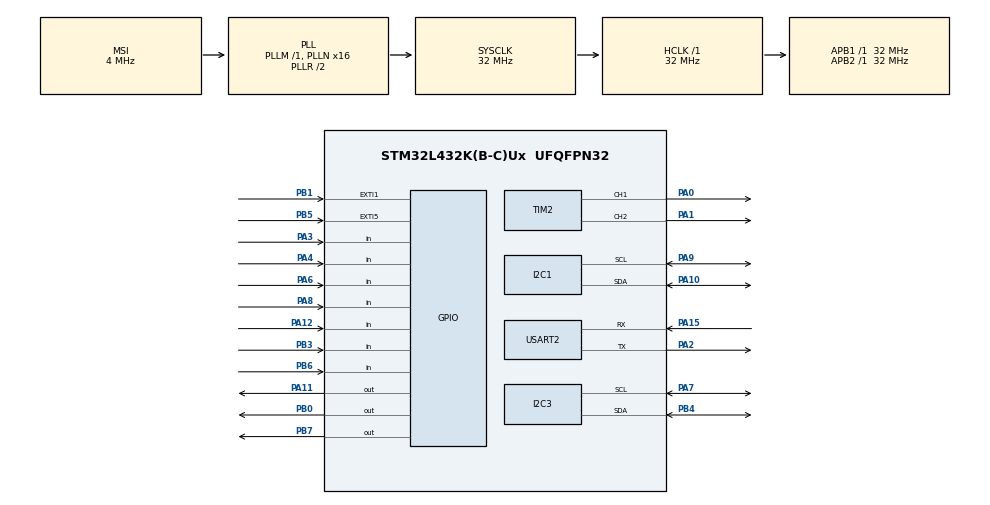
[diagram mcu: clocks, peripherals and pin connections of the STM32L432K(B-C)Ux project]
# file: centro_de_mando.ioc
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I2C1.Timing=0x00B07CB4
I2C3.Timing=0x00B07CB4
Mcu.Family=STM32L4
Mcu.Name=STM32L432K(B-C)Ux
Mcu.Package=UFQFPN32
NVIC.EXTI1_IRQn=true\:0\:0\:false\:false\:true\:true\:true\:true
NVIC.EXTI9_5_IRQn=true\:0\:0\:false\:false\:true\:true\:true\:true
NVIC.PriorityGroup=NVIC_PRIORITYGROUP_4
NVIC.USART2_IRQn=true\:0\:0\:false\:false\:true\:true\:true\:true
PA0.Signal=S_TIM2_CH1
PA1.Signal=S_TIM2_CH2
PA10.Mode=I2C
PA10.Signal=I2C1_SDA
PA11.Signal=GPIO_Output
PA12.GPIO_PuPd=GPIO_PULLUP
PA12.Signal=GPIO_Input
PA15\ (JTDI).Mode=Asynchronous
PA15\ (JTDI).Signal=USART2_RX
PA2.Mode=Asynchronous
PA2.Signal=USART2_TX
PA3.GPIO_PuPd=GPIO_PULLDOWN
PA3.Signal=GPIO_Input
PA4.GPIO_PuPd=GPIO_PULLDOWN
PA4.Signal=GPIO_Input
PA6.GPIO_PuPd=GPIO_PULLDOWN
PA6.Signal=GPIO_Input
PA7.Mode=I2C
PA7.Signal=I2C3_SCL
PA8.GPIO_PuPd=GPIO_PULLDOWN
PA8.Signal=GPIO_Input
PA9.Mode=I2C
PA9.Signal=I2C1_SCL
PB0.Signal=GPIO_Output
PB1.GPIO_PuPd=GPIO_PULLUP
PB1.Signal=GPXTI1
PB3\ (JTDO-TRACESWO).GPIO_PuPd=GPIO_PULLUP
PB3\ (JTDO-TRACESWO).Signal=GPIO_Input
PB4\ (NJTRST).Mode=I2C
PB4\ (NJTRST).Signal=I2C3_SDA
PB5.GPIO_ModeDefaultEXTI=GPIO_MODE_IT_FALLING
PB5.GPIO_PuPd=GPIO_PULLUP
PB5.Signal=GPXTI5
PB6.GPIO_PuPd=GPIO_PULLDOWN
PB6.Signal=GPIO_Input
PB7.Signal=GPIO_Output
ProjectManager.HeapSize=0x200
ProjectManager.StackSize=0x400
ProjectManager.TargetToolchain=STM32CubeIDE
RCC.AHBFreq_Value=32000000
RCC.APB1Freq_Value=32000000
RCC.APB1TimFreq_Value=32000000
RCC.APB2Freq_Value=32000000
RCC.APB2TimFreq_Value=32000000
RCC.CortexFreq_Value=32000000
RCC.HCLKFreq_Value=32000000
RCC.HSE_VALUE=8000000
RCC.HSI16_VALUE=16000000
RCC.HSI48_VALUE=48000000
RCC.HSI_VALUE=16000000
RCC.LSE_VALUE=32768
RCC.MSI_VALUE=4000000
RCC.PLLMUL=RCC_PLLMUL_4
RCC.PLLN=16
RCC.SYSCLKFreq_VALUE=32000000
RCC.SYSCLKSource=RCC_SYSCLKSOURCE_PLLCLK
RCC.VCOOutputFreq_Value=64000000
SH.S_TIM2_CH1.0=TIM2_CH1,PWM Generation1 CH1
SH.S_TIM2_CH2.0=TIM2_CH2,PWM Generation2 CH2
TIM2.Channel-PWM\ Generation1\ CH1=TIM_CHANNEL_1
TIM2.Channel-PWM\ Generation2\ CH2=TIM_CHANNEL_2
USART2.VirtualMode-Asynchronous=VM_ASYNC
VP_TIM2_VS_ClockSourceINT.Mode=Internal
board=NUCLEO-L432KC

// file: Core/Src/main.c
/* USER CODE BEGIN Header */
/**
  ******************************************************************************
  * @file           : main.c
  * @brief          : Main program body
  ******************************************************************************
  * @attention
  *
  * Copyright (c) 2025 STMicroelectronics.
  * All rights reserved.
  *
  * This software is licensed under terms that can be found in the LICENSE file
  * in the root directory of this software component.
  * If no LICENSE file comes with this software, it is provided AS-IS.
  *
  ******************************************************************************
  */
/* USER CODE END Header */
#include "main.h"
#include "i2c.h"
#include "tim.h"
#include "usart.h"
#include "gpio.h"

/* USER CODE BEGIN Includes */
#include <stdio.h>  // Necesario para printf y sscanf
/* USER CODE END Includes */

/* USER CODE BEGIN PV */
uint8_t btn1, btn2, btn3, btn4, btn_suction;
uint8_t b1_last=0, b2_last=0, b3_last=0, b4_last=0, bs_last=0;
uint16_t angulo_anterior_1 = 0, angulo_anterior_2 = 0;
int32_t enc1_accumulator = 0, enc2_accumulator = 0;
const int32_t MAGNETIC_THRESHOLD = 200;
int8_t enc1_send = 0, enc2_send = 0, activate = 0;

volatile int32_t encoder_insercion = 0;
volatile int32_t encoder_torsion = 0;
uint32_t last_irq_ins = 0;
uint32_t last_irq_tor = 0;

uint8_t err_encoder = 0;
uint32_t led_timer = 0;
uint8_t led_step = 0;

uint8_t rx_byte;
char rx_buffer[20];
uint8_t rx_index = 0;
uint8_t mensaje_completo = 0;
/* USER CODE END PV */

void SystemClock_Config(void);

/* USER CODE BEGIN 0 */
#define AS5600_ADDR 0x6C // 0x36 desplazado a la izquierda para STM32
#define RAW_ANGLE_REG 0x0C

// Llamamos a los puertos I2C que configurarás en el CubeIDE
extern I2C_HandleTypeDef hi2c1;
extern I2C_HandleTypeDef hi2c3;

uint8_t readButton(GPIO_TypeDef* GPIOx, uint16_t GPIO_Pin, uint8_t *lastState) {
    uint8_t current = HAL_GPIO_ReadPin(GPIOx, GPIO_Pin);
    uint8_t pressed = 0;

    if (current != *lastState) {
        HAL_Delay(10); // debounce
        current = HAL_GPIO_ReadPin(GPIOx, GPIO_Pin);

        if (current != *lastState) {
            *lastState = current;
            if (current == 1) pressed = 1; // Solo reacciona al soltar/presionar (flanco de subida)
        }
    }
    return pressed;
}

// Leer ángulo del AS5600
uint16_t Leer_Angulo_AS5600(I2C_HandleTypeDef *hi2c) {
    uint8_t buffer[2];
    // Solicitamos 2 bytes desde el registro 0x0C
    if (HAL_I2C_Mem_Read(hi2c, AS5600_ADDR, RAW_ANGLE_REG, I2C_MEMADD_SIZE_8BIT, buffer, 2, 10) == HAL_OK) {
        uint16_t angulo = (buffer[0] << 8) | buffer[1];
        return angulo & 0x0FFF; // Filtramos la basura para dejar solo 12 bits
    }
    return 1512; // Retorna 0 si el sensor está desconectado
}

int _write(int file, char *ptr, int len) {
    HAL_UART_Transmit(&huart2, (uint8_t*)ptr, len, HAL_MAX_DELAY);
    return len;
}
// INTERRUPCIONES DE LOS ENCODERS (KY-040) Y UNITY
void HAL_GPIO_EXTI_Callback(uint16_t GPIO_Pin) {
    uint32_t current_time = HAL_GetTick();

    // Encoder 1: Inserción (NUEVO PINAJE -> PB5 = CLK, PA12 = DT)
    if(GPIO_Pin == GPIO_PIN_5) {
        if(current_time - last_irq_ins > 2) { // Filtro anti-rebote de 2ms
            // Ahora leemos la dirección desde el PA12
            if(HAL_GPIO_ReadPin(GPIOA, GPIO_PIN_12) == GPIO_PIN_RESET) {
                encoder_insercion++; // Entrando
            } else {
                encoder_insercion--; // Saliendo
            }
            last_irq_ins = current_time;
            activate = 1;
        }
    }

    // Encoder 2: Torsión (PB1 = CLK, PB3 = DT) -> ESTO QUEDA IGUAL
    if(GPIO_Pin == GPIO_PIN_1) {
        if(current_time - last_irq_tor > 2) { // Filtro anti-rebote de 2ms
            if(HAL_GPIO_ReadPin(GPIOB, GPIO_PIN_3) == GPIO_PIN_RESET) {
                encoder_torsion++; // Giro Derecha
            } else {
                encoder_torsion--; // Giro Izquierda
            }
            last_irq_tor = current_time;
            activate = 1;
        }
    }
}

// INTERRUPCIÓN DE RECEPCIÓN UART (Mensajes de Unity)
// Unity debe enviar mensajes terminados en '\n', ej: "V1:100\n"
void HAL_UART_RxCpltCallback(UART_HandleTypeDef *huart) {
    if(huart->Instance == USART2) {
        if(rx_byte == '\n' || rx_index >= 19) {
            rx_buffer[rx_index] = '\0'; // Terminamos el string
            mensaje_completo = 1;
            rx_index = 0;
        } else {
            rx_buffer[rx_index++] = rx_byte;
        }
        // Volvemos a escuchar el siguiente byte
        HAL_UART_Receive_IT(&huart2, &rx_byte, 1);
    }
}
/* USER CODE END 0 */

int main(void)
{

  /* MCU Configuration--------------------------------------------------------*/

  /* Reset of all peripherals, Initializes the Flash interface and the Systick. */
  HAL_Init();

  /* Configure the system clock */
  SystemClock_Config();

  /* Initialize all configured peripherals */
  MX_GPIO_Init();
  MX_I2C1_Init();
  MX_I2C3_Init();
  MX_TIM2_Init();
  MX_USART2_UART_Init();
  /* USER CODE BEGIN 2 */
  printf("\r\n--- INICIANDO TEST CRUDO I2C ---\r\n");
    uint8_t test_buffer[2];

    // Test I2C1 (Volante 1 en PB6 / PB7)
    if(HAL_I2C_Mem_Read(&hi2c1, 0x6C, 0x0C, I2C_MEMADD_SIZE_8BIT, test_buffer, 2, 100) == HAL_OK) {
        printf(">>> I2C1 (PB6/PB7) VIVO <<< Angulo: %d\r\n", (test_buffer[0] << 8) | test_buffer[1]);
    } else {
        uint32_t err1 = HAL_I2C_GetError(&hi2c1);
        printf("I2C1 MUERTO. Codigo error HAL: %lu\r\n", err1);
    }

    // Test I2C3 (Volante 2 en PA7 / PB4)
    if(HAL_I2C_Mem_Read(&hi2c3, 0x6C, 0x0C, I2C_MEMADD_SIZE_8BIT, test_buffer, 2, 100) == HAL_OK) {
        printf(">>> I2C3 (PA7/PB4) VIVO <<< Angulo: %d\r\n", (test_buffer[0] << 8) | test_buffer[1]);
    } else {
        uint32_t err3 = HAL_I2C_GetError(&hi2c3);
        printf("I2C3 MUERTO. Codigo error HAL: %lu\r\n", err3);
    }

    printf("--------------------------------\r\n");
    HAL_Delay(3000);
  // Encender PWM de Motores en 0% (TIM2)
  HAL_TIM_PWM_Start(&htim2, TIM_CHANNEL_1); // PA0
  HAL_TIM_PWM_Start(&htim2, TIM_CHANNEL_2); // PA1
  TIM2->CCR1 = 0; // Motor 1 apagado (0 a 1000)
  TIM2->CCR2 = 0; // Motor 2 apagado

  // Iniciar escucha por Serial (UART2)
  HAL_UART_Receive_IT(&huart2, &rx_byte, 1);

  // Lectura inicial de AS5600
  angulo_anterior_1 = Leer_Angulo_AS5600(&hi2c1);
  angulo_anterior_2 = Leer_Angulo_AS5600(&hi2c3);
  /* USER CODE END 2 */

  /* Infinite loop */
  /* USER CODE BEGIN WHILE */
  while (1)
    {
	  // 1. BOTONES
	  	        btn1 = readButton(GPIOA, GPIO_PIN_3, &b1_last);
	  	        btn2 = readButton(GPIOA, GPIO_PIN_4, &b2_last);
	  	        btn3 = readButton(GPIOA, GPIO_PIN_6, &b3_last);
	  	        btn4 = readButton(GPIOA, GPIO_PIN_8, &b4_last);
	  	        btn_suction = readButton(GPIOB, GPIO_PIN_6, &bs_last); // Botón succión en PB6

	  	        // 2. VOLANTES (AS5600)
	  	        uint16_t angulo_actual_1 = Leer_Angulo_AS5600(&hi2c1);
	  	        uint16_t angulo_actual_2 = Leer_Angulo_AS5600(&hi2c3);

	  	        if(angulo_actual_1 == 1512 && angulo_actual_2 == 1512) err_encoder = 1;
	  	        else err_encoder = 0;

	  	        int16_t diff_1 = angulo_actual_1 - angulo_anterior_1;
	  	        int16_t diff_2 = angulo_actual_2 - angulo_anterior_2;

	  	        if (diff_1 > 2048) diff_1 -= 4096;
	  	        if (diff_1 < -2048) diff_1 += 4096;
	  	        if (diff_2 > 2048) diff_2 -= 4096;
	  	        if (diff_2 < -2048) diff_2 += 4096;

	  	        angulo_anterior_1 = angulo_actual_1;
	  	        angulo_anterior_2 = angulo_actual_2;

	  	        enc1_accumulator += diff_1;
	  	        enc2_accumulator += diff_2;

	  	        if (enc1_accumulator >= MAGNETIC_THRESHOLD) {
	  	            enc1_send = 1; enc1_accumulator -= MAGNETIC_THRESHOLD; activate = 1;
	  	        } else if (enc1_accumulator <= -MAGNETIC_THRESHOLD) {
	  	            enc1_send = -1; enc1_accumulator += MAGNETIC_THRESHOLD; activate = 1;
	  	        }

	  	        if (enc2_accumulator >= MAGNETIC_THRESHOLD) {
	  	            enc2_send = 1; enc2_accumulator -= MAGNETIC_THRESHOLD; activate = 1;
	  	        } else if (enc2_accumulator <= -MAGNETIC_THRESHOLD) {
	  	            enc2_send = -1; enc2_accumulator += MAGNETIC_THRESHOLD; activate = 1;
	  	        }

	  	        // 3. RECEPCIÓN UNITY -> VIBRACIÓN
	  	        if(mensaje_completo == 1) {
	  	            int fuerza_motor = 0;
	  	            if(sscanf((char*)rx_buffer, "V1:%d", &fuerza_motor) == 1) {
	  	                TIM2->CCR1 = fuerza_motor;
	  	            }
	  	            else if(sscanf((char*)rx_buffer, "V2:%d", &fuerza_motor) == 1) {
	  	                TIM2->CCR2 = fuerza_motor;
	  	            }
	  	            mensaje_completo = 0;
	  	        }

	  	        // 4. LED RGB (Actualizado a PB7, PA11 y PB0)
	  	        if (HAL_GetTick() - led_timer >= 500) {
	  	            led_timer = HAL_GetTick();

	  	            HAL_GPIO_WritePin(GPIOB, GPIO_PIN_7, GPIO_PIN_RESET); // Rojo
	  	            HAL_GPIO_WritePin(GPIOA, GPIO_PIN_11, GPIO_PIN_RESET); // Verde
	  	            HAL_GPIO_WritePin(GPIOB, GPIO_PIN_0, GPIO_PIN_RESET); // Azul <-- NUEVO EN PB0

	  	            if(err_encoder == 0) {
	  	                if(led_step % 2 != 0) HAL_GPIO_WritePin(GPIOA, GPIO_PIN_11, GPIO_PIN_SET); // Verde parpadeante = OK
	  	            } else {
	  	                HAL_GPIO_WritePin(GPIOB, GPIO_PIN_7, GPIO_PIN_SET); // Rojo Fijo = Falla I2C
	  	            }
	  	            led_step++;
	  	            if(led_step > 6) led_step = 0;
	  	        }

	  	        // 5. ENVÍO DE DATOS A UNITY
	  	        if (btn1 || btn2 || btn3 || btn4 || btn_suction || activate == 1) {
	  	            printf("B1:%d B2:%d B3:%d B4:%d Su:%d E1:%d E2:%d INS:%ld TOR:%ld\r\n",
	  	                   btn1, btn2, btn3, btn4, btn_suction,
	  	                   enc1_send, enc2_send,
	  	                   encoder_insercion, encoder_torsion);

	  	            activate = 0;
	  	            enc1_send = 0;
	  	            enc2_send = 0;
	  	            encoder_insercion = 0;
	  	            encoder_torsion = 0;
	  	        }

	  	        HAL_Delay(10);
	    }
    /* USER CODE END WHILE */

}

void SystemClock_Config(void)
{
  RCC_OscInitTypeDef RCC_OscInitStruct = {0};
  RCC_ClkInitTypeDef RCC_ClkInitStruct = {0};

  /** Configure the main internal regulator output voltage
  */
  if (HAL_PWREx_ControlVoltageScaling(PWR_REGULATOR_VOLTAGE_SCALE1) != HAL_OK)
  {
    Error_Handler();
  }

  /** Initializes the RCC Oscillators according to the specified parameters
  * in the RCC_OscInitTypeDef structure.
  */
  RCC_OscInitStruct.OscillatorType = RCC_OSCILLATORTYPE_MSI;
  RCC_OscInitStruct.MSIState = RCC_MSI_ON;
  RCC_OscInitStruct.MSICalibrationValue = 0;
  RCC_OscInitStruct.MSIClockRange = RCC_MSIRANGE_6;
  RCC_OscInitStruct.PLL.PLLState = RCC_PLL_ON;
  RCC_OscInitStruct.PLL.PLLSource = RCC_PLLSOURCE_MSI;
  RCC_OscInitStruct.PLL.PLLM = 1;
  RCC_OscInitStruct.PLL.PLLN = 16;
  RCC_OscInitStruct.PLL.PLLP = RCC_PLLP_DIV7;
  RCC_OscInitStruct.PLL.PLLQ = RCC_PLLQ_DIV2;
  RCC_OscInitStruct.PLL.PLLR = RCC_PLLR_DIV2;
  if (HAL_RCC_OscConfig(&RCC_OscInitStruct) != HAL_OK)
  {
    Error_Handler();
  }

  /** Initializes the CPU, AHB and APB buses clocks
  */
  RCC_ClkInitStruct.ClockType = RCC_CLOCKTYPE_HCLK|RCC_CLOCKTYPE_SYSCLK
                              |RCC_CLOCKTYPE_PCLK1|RCC_CLOCKTYPE_PCLK2;
  RCC_ClkInitStruct.SYSCLKSource = RCC_SYSCLKSOURCE_PLLCLK;
  RCC_ClkInitStruct.AHBCLKDivider = RCC_SYSCLK_DIV1;
  RCC_ClkInitStruct.APB1CLKDivider = RCC_HCLK_DIV1;
  RCC_ClkInitStruct.APB2CLKDivider = RCC_HCLK_DIV1;

  if (HAL_RCC_ClockConfig(&RCC_ClkInitStruct, FLASH_LATENCY_1) != HAL_OK)
  {
    Error_Handler();
  }
}

void Error_Handler(void)
{
  __disable_irq();
  while (1)
  {
  }
}
